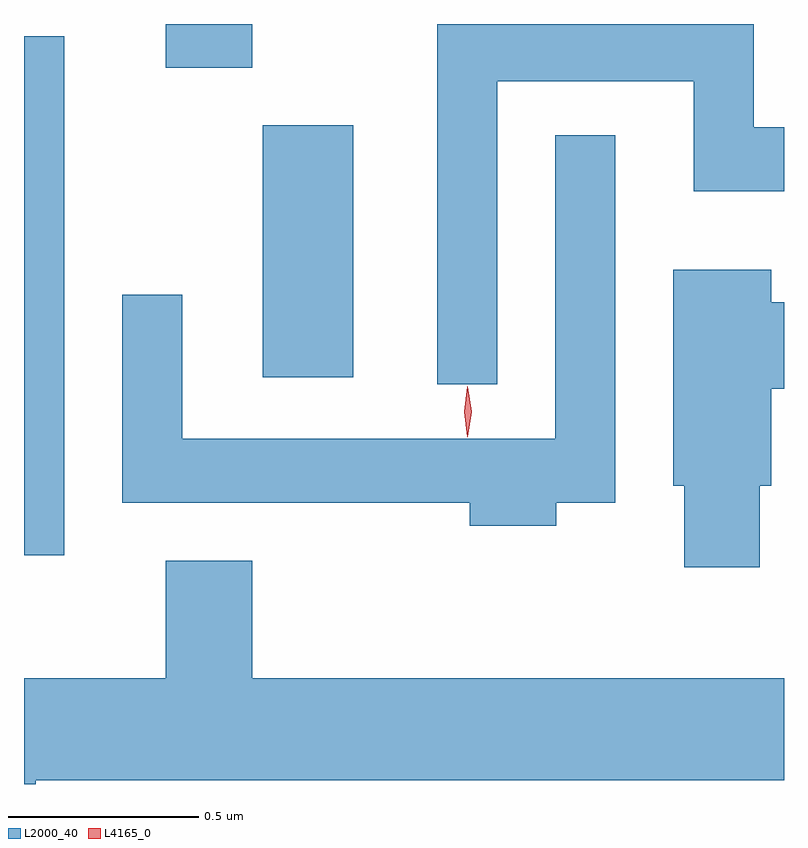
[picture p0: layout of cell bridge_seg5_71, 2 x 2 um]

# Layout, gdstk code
import gdstk
lib = gdstk.Library(unit=1e-6, precision=1e-09)
def R(c, l, rs):  # rectangles x0, y0, x1, y1
    for r in rs: c.add(gdstk.rectangle(r[:2], r[2:], *l))
def P(c, l, *ps):  # polygons
    for p in ps: c.add(gdstk.Polygon(p, *l))
L2000_40 = (2000, 40)
L4165_0 = (4165, 0)

bridge_seg5_71 = lib.new_cell('bridge_seg5_71')
R(bridge_seg5_71, L2000_40, [(1311.718,1464.048,1311.824,1465.414), (1312.346,1464.516,1312.584,1465.179), (1312.091,1465.331,1312.319,1465.446)])
P(bridge_seg5_71, L2000_40, [(1312.964,1465.296),(1313.481,1465.296),(1313.481,1465.006),(1313.718,1465.006),(1313.718,1465.174),(1313.639,1465.174),(1313.639,1465.446),(1312.806,1465.446),(1312.806,1464.498),(1312.964,1464.498)],
  [(1313.119,1464.186),(1313.274,1464.186),(1313.274,1465.153),(1313.116,1465.153),(1313.116,1464.354),(1312.134,1464.354),(1312.134,1464.733),(1311.976,1464.733),(1311.976,1464.186),(1312.891,1464.186),(1312.891,1464.126),(1313.119,1464.126)],
  [(1313.654,1464.231),(1313.684,1464.231),(1313.684,1464.486),(1313.718,1464.486),(1313.718,1464.714),(1313.684,1464.714),(1313.684,1464.799),(1313.426,1464.799),(1313.426,1464.231),(1313.456,1464.231),(1313.456,1464.016),(1313.654,1464.016)],
  [(1311.749,1463.456),(1313.718,1463.456),(1313.718,1463.724),(1312.319,1463.724),(1312.319,1464.034),(1312.091,1464.034),(1312.091,1463.724),(1311.718,1463.724),(1311.718,1463.446),(1311.749,1463.446)])
P(bridge_seg5_71, L4165_0, [(1312.886,1464.359),(1312.885,1464.36),(1312.876,1464.426),(1312.885,1464.492),(1312.885,1464.493),(1312.886,1464.492),(1312.896,1464.426),(1312.886,1464.36)])

lib.write_gds('bridge_seg5_71.gds')
